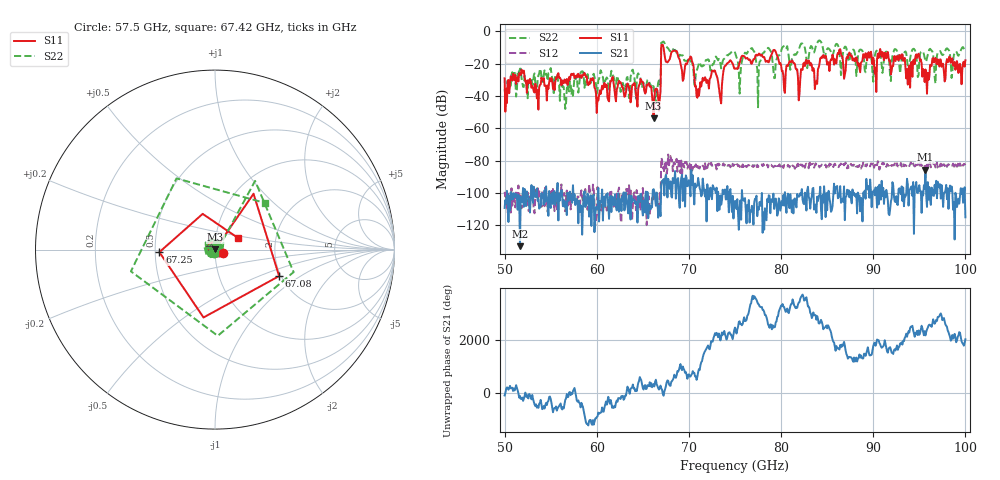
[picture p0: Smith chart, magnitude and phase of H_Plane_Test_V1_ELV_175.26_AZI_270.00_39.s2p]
! 11/27/2026 8:27:32 AM
! C:\ANRITSUVNA\TEMP\TEMP.S2P
! CHANNEL.1
! TR.MEASUREMENT
! RAW.DATA
# HZ S RI R 50.0
! FREQ.HZ  S11RE  S11IM  S21RE  S21IM  S12RE  S12IM  S22RE  S22IM
!; PortSelection: Port_12
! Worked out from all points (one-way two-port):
!   601 points, 50 GHz to 100 GHz, reference 50 ohm
!   highest |S21| = -85.54 dB at 95.67 GHz (marker M1); lowest = -133.0 dB at 51.67 GHz (marker M2)
!   lowest |S11| = -53.7 dB at 66.17 GHz (marker M3), VSWR 1.00, Z = 50.1 + j0.157 ohm
!   |S11| at or under -10 dB: start of sweep to 67 GHz; 67.24 GHz to end of sweep
!   |S22| runs from -48.0 to -5.6 dB; largest |S21 - S12| = 0.00016
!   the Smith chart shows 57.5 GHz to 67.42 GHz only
!   S11 on the Smith chart (normalised r, x): 57.5 GHz: 1.09, -0.05; 67.08 GHz: 1.96, -0.68; 67.25 GHz: 0.53, -0.02; 67.42 GHz: 1.29, +0.17
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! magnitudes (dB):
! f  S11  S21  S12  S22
! 50 GHz  -29.0  -109.3  -99.3  -35.6
! 51.67 GHz  -26.2  -133.0  -102.9  -23.1
! 53.42 GHz  -34.7  -102.3  -98.0  -34.8
! 57.5 GHz  -26.1  -104.3  -102.1  -34.4
! 58.42 GHz  -27.1  -125.9  -102.9  -24.7
! 60.17 GHz  -42.8  -96.9  -101.3  -30.2
! 66.17 GHz  -53.7  -97.7  -104.0  -34.0
! 66.67 GHz  -41.8  -115.4  -112.2  -31.5
! 67.08 GHz  -8.3  -92.6  -79.5  -6.8
! 67.25 GHz  -10.2  -91.5  -83.8  -6.3
! 67.42 GHz  -16.8  -91.2  -80.9  -8.4
! 70.25 GHz  -16.0  -85.8  -82.7  -18.8
! 70.92 GHz  -41.1  -95.6  -82.5  -23.1
! 75 GHz  -23.1  -108.7  -82.6  -13.0
! 77.58 GHz  -13.8  -110.5  -82.9  -21.9
! 78.5 GHz  -18.2  -103.8  -82.5  -10.8
! 79.33 GHz  -11.7  -105.9  -83.2  -28.8
! 80.25 GHz  -27.9  -101.3  -84.6  -9.3
! 83.42 GHz  -24.4  -97.3  -82.1  -10.9
! 91.67 GHz  -16.6  -113.0  -83.2  -15.3
! 95.67 GHz  -23.5  -85.5  -86.6  -18.7
! 100 GHz  -17.9  -115.1  -82.8  -12.6
